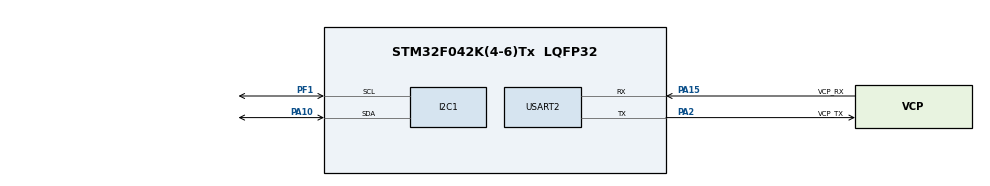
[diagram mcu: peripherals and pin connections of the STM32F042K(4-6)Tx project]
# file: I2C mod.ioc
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Mcu.Family=STM32F0
Mcu.Name=STM32F042K(4-6)Tx
Mcu.Package=LQFP32
PA10.Mode=I2C
PA10.Signal=I2C1_SDA
PA13.GPIO_Label=SWDIO
PA13.Mode=Serial_Wire
PA13.Signal=SYS_SWDIO
PA14.GPIO_Label=SWCLK
PA14.Mode=Serial_Wire
PA14.Signal=SYS_SWCLK
PA15.GPIO_Label=VCP_RX
PA15.Mode=Asynchronous
PA15.Signal=USART2_RX
PA2.GPIO_Label=VCP_TX
PA2.Mode=Asynchronous
PA2.Signal=USART2_TX
PF0-OSC_IN.GPIO_Label=MCO
PF0-OSC_IN.Mode=HSE-External-Clock-Source
PF0-OSC_IN.Signal=RCC_OSC_IN
PF1-OSC_OUT.Mode=I2C
PF1-OSC_OUT.Signal=I2C1_SCL
ProjectManager.HeapSize=0x200
ProjectManager.StackSize=0x400
ProjectManager.TargetToolchain=STM32CubeIDE
USART2.VirtualMode-Asynchronous=VM_ASYNC
board=NUCLEO-F042K6

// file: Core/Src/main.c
/* USER CODE BEGIN Header */
/**
  ******************************************************************************
  * @file           : main.c
  * @brief          : Main program body
  ******************************************************************************
  * @attention
  *
  * <h2><center>&copy; Copyright (c) 2020 STMicroelectronics.
  * All rights reserved.</center></h2>
  *
  * This software component is licensed by ST under BSD 3-Clause license,
  * the "License"; You may not use this file except in compliance with the
  * License. You may obtain a copy of the License at:
  *                        opensource.org/licenses/BSD-3-Clause
  *
  ******************************************************************************
  */
/* USER CODE END Header */

#include "main.h"

UART_HandleTypeDef huart2;

void SystemClock_Config(void);
static void MX_GPIO_Init(void);
static void MX_USART2_UART_Init(void);
static void MX_I2C1_Init(void);

int main(void)
{
  /* USER CODE BEGIN 1 */
	uint8_t u8_slaveAddr = 0x80;
	uint8_t Data = 0x30;
	uint8_t u8_recData[5] = {0};
	uint8_t u8_rxIndex = 0;
	int32_t s;

  /* USER CODE END 1 */

  /* MCU Configuration--------------------------------------------------------*/

  /* Reset of all peripherals, Initializes the Flash interface and the Systick. */
  HAL_Init();

  /* Configure the system clock */
  SystemClock_Config();

  /* Initialize all configured peripherals */
  MX_GPIO_Init();
  MX_USART2_UART_Init();
  MX_I2C1_Init();

  /* Infinite loop */
  while (1)
  {

    /* USER CODE BEGIN 3 */

	//Initialisation of I2C transfer - write
	LL_I2C_HandleTransfer(I2C1, u8_slaveAddr, LL_I2C_ADDRSLAVE_7BIT, 1, LL_I2C_MODE_AUTOEND, LL_I2C_GENERATE_START_WRITE);
	/*I2C bus type
	 * slave address
	 * type of address
	 * no. of bytes
	 * type of end
	 * generate write
	 */

	while(!LL_I2C_IsActiveFlag_STOP(I2C1)) //Wait for stop flag
	{
		if(LL_I2C_IsActiveFlag_TXE(I2C1)) //wait for empty TX
		{
			LL_I2C_TransmitData8(I2C1, Data); //transmit 'Data' as desired
		}
	}
	LL_I2C_ClearFlag_STOP(I2C1); // clear flag stop

	//Initialisation of I2C transfer - read
	while(!LL_I2C_IsActiveFlag_STOP(I2C1)) //Wait for stop flag
	{
		if(LL_I2C_IsActiveFlag_RXNE(I2C1)) //wait for RX flag
		{
			u8_recData[u8_rxIndex++]= LL_I2C_ReceiveData8(I2C1); //increment Rx index, write to variable
		}
	}
	u8_rxIndex = 0; //clear rxindex
	LL_I2C_ClearFlag_STOP(I2C1); //clear stop flag

	//Include code to do carry out task
	s = ((u8_recData[0]<<8) | u8_recData[1]); //sum LSB and MSB
  }
  /* USER CODE END 3 */
}

void SystemClock_Config(void)
{
  LL_FLASH_SetLatency(LL_FLASH_LATENCY_0);

  if(LL_FLASH_GetLatency() != LL_FLASH_LATENCY_0)
  {
  Error_Handler();
  }
  LL_RCC_HSI_Enable();

   /* Wait till HSI is ready */
  while(LL_RCC_HSI_IsReady() != 1)
  {

  }
  LL_RCC_HSI_SetCalibTrimming(16);
  LL_RCC_SetAHBPrescaler(LL_RCC_SYSCLK_DIV_1);
  LL_RCC_SetAPB1Prescaler(LL_RCC_APB1_DIV_1);
  LL_RCC_SetSysClkSource(LL_RCC_SYS_CLKSOURCE_HSI);

   /* Wait till System clock is ready */
  while(LL_RCC_GetSysClkSource() != LL_RCC_SYS_CLKSOURCE_STATUS_HSI)
  {

  }
  LL_SetSystemCoreClock(8000000);
  LL_RCC_SetI2CClockSource(LL_RCC_I2C1_CLKSOURCE_HSI);
}

static void MX_I2C1_Init(void)
{

  LL_I2C_InitTypeDef I2C_InitStruct = {0};

  LL_GPIO_InitTypeDef GPIO_InitStruct = {0};

  LL_AHB1_GRP1_EnableClock(LL_AHB1_GRP1_PERIPH_GPIOF);
  LL_AHB1_GRP1_EnableClock(LL_AHB1_GRP1_PERIPH_GPIOA);
  /**I2C1 GPIO Configuration
  PF1-OSC_OUT   ------> I2C1_SCL
  PA10   ------> I2C1_SDA
  */
  GPIO_InitStruct.Pin = LL_GPIO_PIN_1;
  GPIO_InitStruct.Mode = LL_GPIO_MODE_ALTERNATE;
  GPIO_InitStruct.Speed = LL_GPIO_SPEED_FREQ_HIGH;
  GPIO_InitStruct.OutputType = LL_GPIO_OUTPUT_OPENDRAIN;
  GPIO_InitStruct.Pull = LL_GPIO_PULL_UP;
  GPIO_InitStruct.Alternate = LL_GPIO_AF_1;
  LL_GPIO_Init(GPIOF, &GPIO_InitStruct);

  GPIO_InitStruct.Pin = LL_GPIO_PIN_10;
  GPIO_InitStruct.Mode = LL_GPIO_MODE_ALTERNATE;
  GPIO_InitStruct.Speed = LL_GPIO_SPEED_FREQ_HIGH;
  GPIO_InitStruct.OutputType = LL_GPIO_OUTPUT_OPENDRAIN;
  GPIO_InitStruct.Pull = LL_GPIO_PULL_UP;
  GPIO_InitStruct.Alternate = LL_GPIO_AF_4;
  LL_GPIO_Init(GPIOA, &GPIO_InitStruct);

  /* Peripheral clock enable */
  LL_APB1_GRP1_EnableClock(LL_APB1_GRP1_PERIPH_I2C1);

  /** I2C Initialization
  */
  LL_I2C_DisableOwnAddress2(I2C1);
  LL_I2C_DisableGeneralCall(I2C1);
  LL_I2C_EnableClockStretching(I2C1);
  I2C_InitStruct.PeripheralMode = LL_I2C_MODE_I2C;
  I2C_InitStruct.Timing = 0x2000090E;
  I2C_InitStruct.AnalogFilter = LL_I2C_ANALOGFILTER_ENABLE;
  I2C_InitStruct.DigitalFilter = 0;
  I2C_InitStruct.OwnAddress1 = 0;
  I2C_InitStruct.TypeAcknowledge = LL_I2C_ACK;
  I2C_InitStruct.OwnAddrSize = LL_I2C_OWNADDRESS1_7BIT;
  LL_I2C_Init(I2C1, &I2C_InitStruct);
  LL_I2C_EnableAutoEndMode(I2C1);
  LL_I2C_SetOwnAddress2(I2C1, 0, LL_I2C_OWNADDRESS2_NOMASK);

}

static void MX_USART2_UART_Init(void)
{

  huart2.Instance = USART2;
  huart2.Init.BaudRate = 38400;
  huart2.Init.WordLength = UART_WORDLENGTH_8B;
  huart2.Init.StopBits = UART_STOPBITS_1;
  huart2.Init.Parity = UART_PARITY_NONE;
  huart2.Init.Mode = UART_MODE_TX_RX;
  huart2.Init.HwFlowCtl = UART_HWCONTROL_NONE;
  huart2.Init.OverSampling = UART_OVERSAMPLING_16;
  huart2.Init.OneBitSampling = UART_ONE_BIT_SAMPLE_DISABLE;
  huart2.AdvancedInit.AdvFeatureInit = UART_ADVFEATURE_NO_INIT;
  if (HAL_UART_Init(&huart2) != HAL_OK)
  {
    Error_Handler();
  }

}

static void MX_GPIO_Init(void)
{

  /* GPIO Ports Clock Enable */
  LL_AHB1_GRP1_EnableClock(LL_AHB1_GRP1_PERIPH_GPIOF);
  LL_AHB1_GRP1_EnableClock(LL_AHB1_GRP1_PERIPH_GPIOA);

}

void Error_Handler(void)
{
}

/************************ (C) COPYRIGHT STMicroelectronics *****END OF FILE****/
